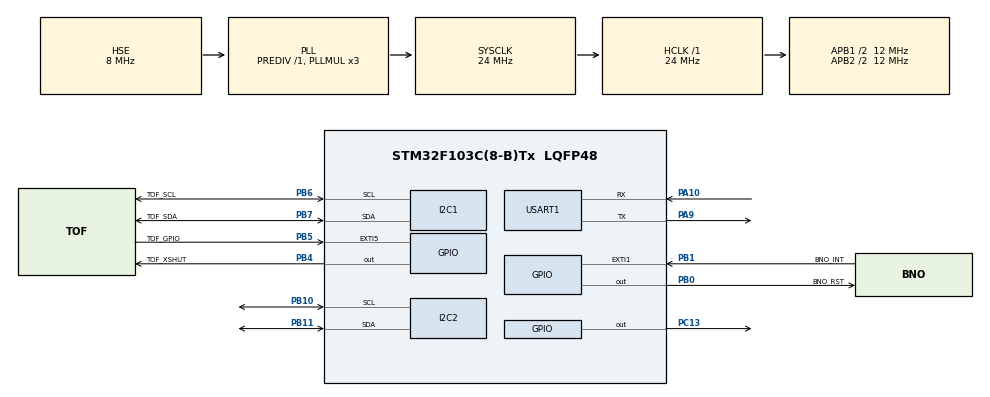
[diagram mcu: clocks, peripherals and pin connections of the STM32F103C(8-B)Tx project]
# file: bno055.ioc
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Dma.Request0=USART1_RX
Dma.Request1=USART1_TX
Dma.USART1_RX.0.Direction=DMA_PERIPH_TO_MEMORY
Dma.USART1_RX.0.Instance=DMA1_Channel5
Dma.USART1_RX.0.MemDataAlignment=DMA_MDATAALIGN_BYTE
Dma.USART1_RX.0.MemInc=DMA_MINC_ENABLE
Dma.USART1_RX.0.Mode=DMA_NORMAL
Dma.USART1_RX.0.PeriphDataAlignment=DMA_PDATAALIGN_BYTE
Dma.USART1_RX.0.PeriphInc=DMA_PINC_DISABLE
Dma.USART1_RX.0.Priority=DMA_PRIORITY_MEDIUM
Dma.USART1_TX.1.Direction=DMA_MEMORY_TO_PERIPH
Dma.USART1_TX.1.Instance=DMA1_Channel4
Dma.USART1_TX.1.MemDataAlignment=DMA_MDATAALIGN_BYTE
Dma.USART1_TX.1.MemInc=DMA_MINC_ENABLE
Dma.USART1_TX.1.Mode=DMA_NORMAL
Dma.USART1_TX.1.PeriphDataAlignment=DMA_PDATAALIGN_BYTE
Dma.USART1_TX.1.PeriphInc=DMA_PINC_DISABLE
Dma.USART1_TX.1.Priority=DMA_PRIORITY_VERY_HIGH
I2C1.I2C_Mode=I2C_Fast
I2C2.I2C_Mode=I2C_Fast
IWDG.Prescaler=IWDG_PRESCALER_64
IWDG.Reload=2814
Mcu.Family=STM32F1
Mcu.Name=STM32F103C(8-B)Tx
Mcu.Package=LQFP48
NVIC.DMA1_Channel4_IRQn=true\:2\:0\:true\:false\:true\:false\:true\:true
NVIC.DMA1_Channel5_IRQn=true\:2\:0\:true\:false\:true\:false\:true\:true
NVIC.EXTI9_5_IRQn=true\:1\:0\:true\:false\:true\:true\:true\:true
NVIC.PriorityGroup=NVIC_PRIORITYGROUP_4
NVIC.TIM2_IRQn=true\:0\:0\:true\:false\:true\:true\:true\:true
NVIC.USART1_IRQn=true\:2\:0\:true\:false\:true\:true\:true\:true
PA10.Mode=Asynchronous
PA10.Signal=USART1_RX
PA13.Mode=Serial_Wire
PA13.Signal=SYS_JTMS-SWDIO
PA14.Mode=Serial_Wire
PA14.Signal=SYS_JTCK-SWCLK
PA9.Mode=Asynchronous
PA9.Signal=USART1_TX
PB0.GPIO_Label=BNO_RST
PB0.GPIO_Speed=GPIO_SPEED_FREQ_MEDIUM
PB0.Signal=GPIO_Output
PB1.GPIO_Label=BNO_INT
PB1.GPIO_ModeDefaultEXTI=GPIO_MODE_IT_RISING
PB1.GPIO_PuPd=GPIO_PULLDOWN
PB1.Signal=GPXTI1
PB10.Mode=I2C
PB10.Signal=I2C2_SCL
PB11.Mode=I2C
PB11.Signal=I2C2_SDA
PB4.GPIO_Label=TOF_XSHUT
PB4.Signal=GPIO_Output
PB5.GPIO_Label=TOF_GPIO
PB5.GPIO_ModeDefaultEXTI=GPIO_MODE_IT_FALLING
PB5.GPIO_PuPd=GPIO_PULLUP
PB5.Signal=GPXTI5
PB6.GPIO_Label=TOF_SCL
PB6.GPIO_Speed=GPIO_SPEED_FREQ_LOW
PB6.Mode=I2C
PB6.Signal=I2C1_SCL
PB7.GPIO_Label=TOF_SDA
PB7.GPIO_Speed=GPIO_SPEED_FREQ_LOW
PB7.Mode=I2C
PB7.Signal=I2C1_SDA
PC13-TAMPER-RTC.Signal=GPIO_Output
PD0-OSC_IN.Mode=HSE-External-Oscillator
PD0-OSC_IN.Signal=RCC_OSC_IN
PD1-OSC_OUT.Mode=HSE-External-Oscillator
PD1-OSC_OUT.Signal=RCC_OSC_OUT
ProjectManager.HeapSize=0x200
ProjectManager.StackSize=0x400
ProjectManager.TargetToolchain=MDK-ARM V5.32
RCC.AHBFreq_Value=24000000
RCC.APB1CLKDivider=RCC_HCLK_DIV2
RCC.APB1Freq_Value=12000000
RCC.APB1TimFreq_Value=24000000
RCC.APB2CLKDivider=RCC_HCLK_DIV2
RCC.APB2Freq_Value=12000000
RCC.APB2TimFreq_Value=24000000
RCC.HCLKFreq_Value=24000000
RCC.PLLMUL=RCC_PLL_MUL3
RCC.PLLSourceVirtual=RCC_PLLSOURCE_HSE
RCC.SYSCLKFreq_VALUE=24000000
RCC.SYSCLKSource=RCC_SYSCLKSOURCE_PLLCLK
RCC.USBFreq_Value=24000000
TIM2.Period=19
TIM2.Prescaler=23999
USART1.VirtualMode=VM_ASYNC
VP_IWDG_VS_IWDG.Mode=IWDG_Activate
VP_TIM2_VS_ClockSourceINT.Mode=Internal
board=custom

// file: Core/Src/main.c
/* USER CODE BEGIN Header */
/**
 ******************************************************************************
 * @file           : main.c
 * @brief          : Main program body
 ******************************************************************************
 * @attention
 *
 * Copyright (c) 2025 STMicroelectronics.
 * All rights reserved.
 *
 * This software is licensed under terms that can be found in the LICENSE file
 * in the root directory of this software component.
 * If no LICENSE file comes with this software, it is provided AS-IS.
 *
 ******************************************************************************
 */
/* USER CODE END Header */
#include "main.h"

/* USER CODE BEGIN Includes */
#include <stdio.h>
#include <stdbool.h>
#include <math.h>
#include <string.h>

// file for bno055
#include "bno055_driver.h"
#include "flash.h"

// file for vl53l1x sensor
#include "vl53l1_platform.h"
#include "VL53L1X_api.h"
#include "filters.h"

/* USER CODE END Includes */

/* USER CODE BEGIN PD */
#define ID_HEADING           (0xA1)
#define ID_DISTANCE          (0xB2)
#define ID_ALL               (0xC3)
#define UART_TX_POLLING      0x01
#define UART_TX_DMA          0x02
#define UART_TX_MODE         UART_TX_POLLING
#define UART_RX_IT           0x03
#define UART_RX_DMA          0x04
#define UART_RX_MODE         UART_RX_DMA
#define BNO055_IMU_MODE      0x05
#define BNO055_NDOF_MODE     0x06
#define BNO055_SELECTED_MODE BNO055_IMU_MODE
#define MAX_VL53L1X_RETRY    3
#define MAX_BNO055_RETRY     5

/* USER CODE END PD */

/* USER CODE BEGIN PM */
typedef enum
{
  BNO_FAIL_INIT          = 0x01,
  VL53_FAIL_INIT         = 0x02,
  BNO_FAIL_EVEN_RETRIES  = 0x03,
  VL53_FAIL_EVEN_RETRIES = 0x04
} enum_sensor_error;

/* USER CODE END PM */

I2C_HandleTypeDef hi2c1;
I2C_HandleTypeDef hi2c2;

IWDG_HandleTypeDef hiwdg;

TIM_HandleTypeDef htim2;

UART_HandleTypeDef huart1;
DMA_HandleTypeDef  hdma_usart1_rx;
DMA_HandleTypeDef  hdma_usart1_tx;

/* USER CODE BEGIN PV */
//================ variables for uart communication with rasp ======================//
uint8_t       received_data_from_rasp[1] = {0};
bool          need_soft_reset            = false;
volatile bool uart_ready                 = true;

//====================== variables for bno055 =====================================//
bno055_vector_t           v_euler = {0, 0, 0, 0};
bno055_calibration_data_t calib_data;
bool                      calibed           = false;
bool                      bno055_failed     = false;
bool                      heading_ready     = false;
float                     heading           = 0.0f;
float                     error_code        = 999.0f;
float                     yaw_offset        = 0.0f;
uint8_t                   bno055_fail_count = 0;

//====================== variables for vl53l1x ===================================//
uint8_t        status              = 0;  // common status
uint8_t        status1             = 0;  // common status
uint8_t        status2             = 0;  // common status
uint8_t        range_status        = 0;  // status for measurement
uint16_t       measured_distance   = 0;
bool           distance_ready      = false;
uint32_t       last_distance_time  = 0;
const uint16_t timeout_distance_ms = 3000;
uint8_t        vl53_fail_count     = 0;

/* USER CODE END PV */

void        SystemClock_Config(void);
static void MX_GPIO_Init(void);
static void MX_DMA_Init(void);
static void MX_I2C2_Init(void);
static void MX_USART1_UART_Init(void);
static void MX_I2C1_Init(void);
static void MX_TIM2_Init(void);
static void MX_IWDG_Init(void);
/* USER CODE BEGIN PFP */
/**
 * @brief This function process data into a package to transmit
 */
void send_data_with_id(uint8_t id, float value);

/**
 * @brief This function process data into a package to transmit
 */
void send_data_all(uint8_t id, float value1, float value2);

/**
 * @brief call this function to reset system
 */
void soft_reset(void);

/**
 * @brief call this function to reset bno055 sensor
 */
void bno055_reset_by_nrst(void);

/**
 * @brief call this funtion to inform to rasp that vl53 sensor does not reply
 */
void send_vl53_error(enum_sensor_error error_type);

/**
 * @brief call this funtion to inform to rasp that bn055 sensor does not reply
 */
void send_bno055_error(enum_sensor_error error_type);

/* USER CODE END PFP */

/* USER CODE BEGIN 0 */
FILE __stdout;
int  fputc(int ch, FILE *f)
{
  HAL_UART_Transmit(&huart1, (uint8_t *)&ch, 1, 2000);
  return ch;
}

/* USER CODE END 0 */

int main(void)
{

  /* MCU Configuration--------------------------------------------------------*/

  /* Reset of all peripherals, Initializes the Flash interface and the Systick. */
  HAL_Init();

  /* Configure the system clock */
  SystemClock_Config();

  /* Initialize all configured peripherals */
  MX_GPIO_Init();
  MX_DMA_Init();
  MX_I2C2_Init();
  MX_USART1_UART_Init();
  MX_I2C1_Init();
  MX_TIM2_Init();
  MX_IWDG_Init();
  /* USER CODE BEGIN 2 */
  // ============ signal led will flash to inform if system restart (timeout = 4.5s) ===============//
  HAL_GPIO_WritePin(GPIOC, GPIO_PIN_13, GPIO_PIN_RESET);
  HAL_GPIO_WritePin(GPIOB, BNO_RST_Pin, GPIO_PIN_SET);
  HAL_Delay(50);
  HAL_GPIO_WritePin(GPIOC, GPIO_PIN_13, GPIO_PIN_SET);

  // ====================== enable timer 2 interrupt to transmit data =============================//
  HAL_TIM_Base_Start_IT(&htim2);

  // ===================== enable uart 1 interrupt to trreceive command ===========================//
  HAL_UARTEx_ReceiveToIdle_DMA(&huart1, received_data_from_rasp, sizeof(received_data_from_rasp));
  __HAL_DMA_DISABLE_IT(&hdma_usart1_rx, DMA_IT_HT);  // disable Half-Transfer

  // ============================== initiate BNO055 sensor ========================================//
  bno055_assignI2C(&hi2c2);  // i2c channel 2
  bno055_setup();

// imu mode (gyro, accel, do not have magnet), delay to wait for self calib of bno055
#if BNO055_SELECTED_MODE == BNO055_IMU_MODE
  bno055_set_operation_mode(BNO055_OPERATION_MODE_IMU);
#elif BNO055_MODE == BNO055_NDOF_MODE
  // if sensor calibed, we can get the offset value that saved on flash of MCU
  if (calibed)
  {
    read_calibration_from_flash(&calib_data, sizeof(calib_data));
    bno055_set_calibration_data(calib_data);
  }
  bno055_set_operation_mode(BNO055_OPERATION_MODE_NDOF);
#else
#error "Invalid BNO055_MODE"
#endif
  HAL_Delay(1000);

  // read and check if value is valid, then saving it to offset later
  v_euler = bno055_get_vector_euler();
  if ((v_euler.x >= 0.0f) && (v_euler.x <= 361.0f))
    yaw_offset = v_euler.x;
  else
    send_bno055_error(BNO_FAIL_INIT);

  //============================== initiate VL53L1X sensor =====================================//
  vl53l1x_assignI2C(&hi2c1);  // i2c channel 1
  VL53L1__Init();
  status = VL53L1X_StartRanging(VL53L1__ADDR);
  if (status != 0)
  {
    send_vl53_error(VL53_FAIL_INIT);
  }

  /* USER CODE END 2 */

  /* Infinite loop */
  while (1)
  {

    /* USER CODE BEGIN 3 */
    // =============================== read data from bno055 =================================//
    if (!bno055_failed)
    {
      v_euler = bno055_get_vector_euler();
      if ((v_euler.x < 0.0f) || (v_euler.x > 361.0f))
      {
        bno055_fail_count++;

        // try to reconnect, only use imu mode after reconnecting
        bno055_reset_by_nrst();
        __HAL_RCC_I2C2_FORCE_RESET();
        __HAL_RCC_I2C2_RELEASE_RESET();
        bno055_assignI2C(&hi2c2);  // i2c channel 2
        bno055_setup();
        bno055_set_operation_mode(BNO055_OPERATION_MODE_IMU);
        HAL_Delay(300);

        // read yaw value after reconnect
        v_euler = bno055_get_vector_euler();
        if ((v_euler.x >= 0.0f) && (v_euler.x <= 361.0f))
        {
          bno055_fail_count = 0;  // if reconncet succeeded, reset fail counts
          heading           = (v_euler.x > 360.0f) ? 360.0f : v_euler.x;
        }
        else if (bno055_fail_count >= MAX_BNO055_RETRY)
        {
          bno055_failed = true;
          send_bno055_error(BNO_FAIL_EVEN_RETRIES);
          heading = error_code;
        }
        else
        {
          heading = error_code;
        }
      }
      else
      {
        bno055_fail_count = 0;
        heading           = (v_euler.x > 360.0f) ? 360.0f : v_euler.x;
      }
    }

    // ================================== transmit data =====================================//
    if ((heading_ready) && (!bno055_failed))
    {
      send_data_with_id(ID_HEADING, heading);
      heading_ready = false;
    }
    if (distance_ready)
    {
      send_data_with_id(ID_DISTANCE, measured_distance);
      distance_ready = false;
    }

    // ====================== check if vl53l1x failed or disconnected =======================//
    if ((HAL_GetTick() - last_distance_time > timeout_distance_ms) && (vl53_fail_count < MAX_VL53L1X_RETRY))
    {
      uint8_t refRegs[4] = {0, 0, 0, 0};
      // check if VL53L1X is alive and kicking. Remove MASKREV if VL53L1
      VL53L1_ReadMulti(VL53L1__ADDR, VL53L1__MODELID_INDEX, refRegs, 4);
      if ((refRegs[0] != VL53L1__MODELID_VALUE) || (refRegs[1] != VL53L1__MODULETYPE_VALUE) ||
          (refRegs[2] != VL53L1__MASKREV_VALUE))
      {
        vl53_fail_count++;
        VL53L1__Xshut(0);
        HAL_Delay(10);
        VL53L1__Xshut(1);
        HAL_Delay(10);
        VL53L1__Init();
        status = VL53L1X_StartRanging(VL53L1__ADDR);
      }
      else
      {
        vl53_fail_count = 0;
      }
      if (vl53_fail_count >= MAX_VL53L1X_RETRY)
        send_vl53_error(VL53_FAIL_EVEN_RETRIES);

      last_distance_time = HAL_GetTick();
    }

    // ============================= reset system situations ===============================//
    if (need_soft_reset)
      NVIC_SystemReset();      // if raspberry request srm reset itself
    HAL_IWDG_Refresh(&hiwdg);  // reset system if IWDG out of time (timeout = 4.5s)
  }
  /* USER CODE END 3 */
}

void SystemClock_Config(void)
{
  RCC_OscInitTypeDef RCC_OscInitStruct = {0};
  RCC_ClkInitTypeDef RCC_ClkInitStruct = {0};

  /** Initializes the RCC Oscillators according to the specified parameters
   * in the RCC_OscInitTypeDef structure.
   */
  RCC_OscInitStruct.OscillatorType = RCC_OSCILLATORTYPE_LSI | RCC_OSCILLATORTYPE_HSE;
  RCC_OscInitStruct.HSEState       = RCC_HSE_ON;
  RCC_OscInitStruct.HSEPredivValue = RCC_HSE_PREDIV_DIV1;
  RCC_OscInitStruct.HSIState       = RCC_HSI_ON;
  RCC_OscInitStruct.LSIState       = RCC_LSI_ON;
  RCC_OscInitStruct.PLL.PLLState   = RCC_PLL_ON;
  RCC_OscInitStruct.PLL.PLLSource  = RCC_PLLSOURCE_HSE;
  RCC_OscInitStruct.PLL.PLLMUL     = RCC_PLL_MUL3;
  if (HAL_RCC_OscConfig(&RCC_OscInitStruct) != HAL_OK)
  {
    Error_Handler();
  }

  /** Initializes the CPU, AHB and APB buses clocks
   */
  RCC_ClkInitStruct.ClockType =
    RCC_CLOCKTYPE_HCLK | RCC_CLOCKTYPE_SYSCLK | RCC_CLOCKTYPE_PCLK1 | RCC_CLOCKTYPE_PCLK2;
  RCC_ClkInitStruct.SYSCLKSource   = RCC_SYSCLKSOURCE_PLLCLK;
  RCC_ClkInitStruct.AHBCLKDivider  = RCC_SYSCLK_DIV1;
  RCC_ClkInitStruct.APB1CLKDivider = RCC_HCLK_DIV2;
  RCC_ClkInitStruct.APB2CLKDivider = RCC_HCLK_DIV2;

  if (HAL_RCC_ClockConfig(&RCC_ClkInitStruct, FLASH_LATENCY_0) != HAL_OK)
  {
    Error_Handler();
  }
}

static void MX_I2C1_Init(void)
{

  hi2c1.Instance             = I2C1;
  hi2c1.Init.ClockSpeed      = 400000;
  hi2c1.Init.DutyCycle       = I2C_DUTYCYCLE_2;
  hi2c1.Init.OwnAddress1     = 0;
  hi2c1.Init.AddressingMode  = I2C_ADDRESSINGMODE_7BIT;
  hi2c1.Init.DualAddressMode = I2C_DUALADDRESS_DISABLE;
  hi2c1.Init.OwnAddress2     = 0;
  hi2c1.Init.GeneralCallMode = I2C_GENERALCALL_DISABLE;
  hi2c1.Init.NoStretchMode   = I2C_NOSTRETCH_DISABLE;
  if (HAL_I2C_Init(&hi2c1) != HAL_OK)
  {
    Error_Handler();
  }
}

static void MX_I2C2_Init(void)
{

  hi2c2.Instance             = I2C2;
  hi2c2.Init.ClockSpeed      = 400000;
  hi2c2.Init.DutyCycle       = I2C_DUTYCYCLE_2;
  hi2c2.Init.OwnAddress1     = 0;
  hi2c2.Init.AddressingMode  = I2C_ADDRESSINGMODE_7BIT;
  hi2c2.Init.DualAddressMode = I2C_DUALADDRESS_DISABLE;
  hi2c2.Init.OwnAddress2     = 0;
  hi2c2.Init.GeneralCallMode = I2C_GENERALCALL_DISABLE;
  hi2c2.Init.NoStretchMode   = I2C_NOSTRETCH_DISABLE;
  if (HAL_I2C_Init(&hi2c2) != HAL_OK)
  {
    Error_Handler();
  }
}

static void MX_IWDG_Init(void)
{

  hiwdg.Instance       = IWDG;
  hiwdg.Init.Prescaler = IWDG_PRESCALER_64;
  hiwdg.Init.Reload    = 2814;
  if (HAL_IWDG_Init(&hiwdg) != HAL_OK)
  {
    Error_Handler();
  }
}

static void MX_TIM2_Init(void)
{

  TIM_ClockConfigTypeDef  sClockSourceConfig = {0};
  TIM_MasterConfigTypeDef sMasterConfig      = {0};

  htim2.Instance               = TIM2;
  htim2.Init.Prescaler         = 23999;
  htim2.Init.CounterMode       = TIM_COUNTERMODE_UP;
  htim2.Init.Period            = 19;
  htim2.Init.ClockDivision     = TIM_CLOCKDIVISION_DIV1;
  htim2.Init.AutoReloadPreload = TIM_AUTORELOAD_PRELOAD_DISABLE;
  if (HAL_TIM_Base_Init(&htim2) != HAL_OK)
  {
    Error_Handler();
  }
  sClockSourceConfig.ClockSource = TIM_CLOCKSOURCE_INTERNAL;
  if (HAL_TIM_ConfigClockSource(&htim2, &sClockSourceConfig) != HAL_OK)
  {
    Error_Handler();
  }
  sMasterConfig.MasterOutputTrigger = TIM_TRGO_RESET;
  sMasterConfig.MasterSlaveMode     = TIM_MASTERSLAVEMODE_DISABLE;
  if (HAL_TIMEx_MasterConfigSynchronization(&htim2, &sMasterConfig) != HAL_OK)
  {
    Error_Handler();
  }
}

static void MX_USART1_UART_Init(void)
{

  huart1.Instance          = USART1;
  huart1.Init.BaudRate     = 115200;
  huart1.Init.WordLength   = UART_WORDLENGTH_8B;
  huart1.Init.StopBits     = UART_STOPBITS_1;
  huart1.Init.Parity       = UART_PARITY_NONE;
  huart1.Init.Mode         = UART_MODE_TX_RX;
  huart1.Init.HwFlowCtl    = UART_HWCONTROL_NONE;
  huart1.Init.OverSampling = UART_OVERSAMPLING_16;
  if (HAL_UART_Init(&huart1) != HAL_OK)
  {
    Error_Handler();
  }
}

static void MX_DMA_Init(void)
{

  /* DMA controller clock enable */
  __HAL_RCC_DMA1_CLK_ENABLE();

  /* DMA interrupt init */
  /* DMA1_Channel4_IRQn interrupt configuration */
  HAL_NVIC_SetPriority(DMA1_Channel4_IRQn, 2, 0);
  HAL_NVIC_EnableIRQ(DMA1_Channel4_IRQn);
  /* DMA1_Channel5_IRQn interrupt configuration */
  HAL_NVIC_SetPriority(DMA1_Channel5_IRQn, 2, 0);
  HAL_NVIC_EnableIRQ(DMA1_Channel5_IRQn);
}

static void MX_GPIO_Init(void)
{
  GPIO_InitTypeDef GPIO_InitStruct = {0};

  /* GPIO Ports Clock Enable */
  __HAL_RCC_GPIOC_CLK_ENABLE();
  __HAL_RCC_GPIOD_CLK_ENABLE();
  __HAL_RCC_GPIOA_CLK_ENABLE();
  __HAL_RCC_GPIOB_CLK_ENABLE();

  /*Configure GPIO pin Output Level */
  HAL_GPIO_WritePin(GPIOC, GPIO_PIN_13, GPIO_PIN_RESET);

  /*Configure GPIO pin Output Level */
  HAL_GPIO_WritePin(GPIOB, BNO_RST_Pin | TOF_XSHUT_Pin, GPIO_PIN_RESET);

  /*Configure GPIO pin : PC13 */
  GPIO_InitStruct.Pin   = GPIO_PIN_13;
  GPIO_InitStruct.Mode  = GPIO_MODE_OUTPUT_PP;
  GPIO_InitStruct.Pull  = GPIO_NOPULL;
  GPIO_InitStruct.Speed = GPIO_SPEED_FREQ_LOW;
  HAL_GPIO_Init(GPIOC, &GPIO_InitStruct);

  /*Configure GPIO pins : PC14 PC15 */
  GPIO_InitStruct.Pin  = GPIO_PIN_14 | GPIO_PIN_15;
  GPIO_InitStruct.Mode = GPIO_MODE_ANALOG;
  HAL_GPIO_Init(GPIOC, &GPIO_InitStruct);

  /*Configure GPIO pins : PA0 PA1 PA2 PA3
                           PA4 PA5 PA6 PA7
                           PA8 PA11 PA12 PA15 */
  GPIO_InitStruct.Pin = GPIO_PIN_0 | GPIO_PIN_1 | GPIO_PIN_2 | GPIO_PIN_3 | GPIO_PIN_4 | GPIO_PIN_5 |
                        GPIO_PIN_6 | GPIO_PIN_7 | GPIO_PIN_8 | GPIO_PIN_11 | GPIO_PIN_12 | GPIO_PIN_15;
  GPIO_InitStruct.Mode = GPIO_MODE_ANALOG;
  HAL_GPIO_Init(GPIOA, &GPIO_InitStruct);

  /*Configure GPIO pin : BNO_RST_Pin */
  GPIO_InitStruct.Pin   = BNO_RST_Pin;
  GPIO_InitStruct.Mode  = GPIO_MODE_OUTPUT_PP;
  GPIO_InitStruct.Pull  = GPIO_NOPULL;
  GPIO_InitStruct.Speed = GPIO_SPEED_FREQ_MEDIUM;
  HAL_GPIO_Init(BNO_RST_GPIO_Port, &GPIO_InitStruct);

  /*Configure GPIO pin : BNO_INT_Pin */
  GPIO_InitStruct.Pin  = BNO_INT_Pin;
  GPIO_InitStruct.Mode = GPIO_MODE_IT_RISING;
  GPIO_InitStruct.Pull = GPIO_PULLDOWN;
  HAL_GPIO_Init(BNO_INT_GPIO_Port, &GPIO_InitStruct);

  /*Configure GPIO pins : PB2 PB12 PB13 PB14
                           PB15 PB3 PB8 PB9 */
  GPIO_InitStruct.Pin =
    GPIO_PIN_2 | GPIO_PIN_12 | GPIO_PIN_13 | GPIO_PIN_14 | GPIO_PIN_15 | GPIO_PIN_3 | GPIO_PIN_8 | GPIO_PIN_9;
  GPIO_InitStruct.Mode = GPIO_MODE_ANALOG;
  HAL_GPIO_Init(GPIOB, &GPIO_InitStruct);

  /*Configure GPIO pin : TOF_XSHUT_Pin */
  GPIO_InitStruct.Pin   = TOF_XSHUT_Pin;
  GPIO_InitStruct.Mode  = GPIO_MODE_OUTPUT_PP;
  GPIO_InitStruct.Pull  = GPIO_NOPULL;
  GPIO_InitStruct.Speed = GPIO_SPEED_FREQ_LOW;
  HAL_GPIO_Init(TOF_XSHUT_GPIO_Port, &GPIO_InitStruct);

  /*Configure GPIO pin : TOF_GPIO_Pin */
  GPIO_InitStruct.Pin  = TOF_GPIO_Pin;
  GPIO_InitStruct.Mode = GPIO_MODE_IT_FALLING;
  GPIO_InitStruct.Pull = GPIO_PULLUP;
  HAL_GPIO_Init(TOF_GPIO_GPIO_Port, &GPIO_InitStruct);

  /* EXTI interrupt init*/
  HAL_NVIC_SetPriority(EXTI9_5_IRQn, 1, 0);
  HAL_NVIC_EnableIRQ(EXTI9_5_IRQn);

}

/* USER CODE BEGIN 4 */
/**
 * @brief This function handles EXTI line[9:5] interrupts.
 */
void EXTI9_5_IRQHandler(void)
{
  status |= VL53L1X_GetRangeStatus(VL53L1__ADDR, &range_status);
  if (range_status > 0)  // VL53L1__RANGE_STATUS_THRESH: 7
  {
    status1 |= VL53L1X_ClearInterrupt(
      VL53L1__ADDR);  // non acceptable range status, reset for a new ranging notification
  }
  else
  {
    status2 |= VL53L1X_GetDistance(VL53L1__ADDR, &measured_distance);
    status1 |= VL53L1X_ClearInterrupt(VL53L1__ADDR);  // Everything read. Restart interrupt
    distance_ready     = true;
    vl53_fail_count    = 0;
    last_distance_time = HAL_GetTick();
  }
  HAL_GPIO_EXTI_IRQHandler(TOF_GPIO_Pin);
}

/**
 * @brief This function handles timer interrupt. Using this function to create sample time, and do other tasks
 */
void HAL_TIM_PeriodElapsedCallback(TIM_HandleTypeDef *htim)
{
  if (htim->Instance == TIM2)  // interrupt occurs every 20ms
  {
    heading_ready = true;
  }
}

/**
 * @brief This function handles USART DMA interrupt. Using this function to receive and transmite data
 */
void HAL_UARTEx_RxEventCallback(UART_HandleTypeDef *huart, uint16_t Size)
{
  if (received_data_from_rasp[0] == 0xFF)
  {
    HAL_GPIO_WritePin(GPIOB, BNO_RST_Pin, GPIO_PIN_RESET);
    need_soft_reset = true;
  }

  HAL_UARTEx_ReceiveToIdle_DMA(&huart1, received_data_from_rasp, sizeof(received_data_from_rasp));
  __HAL_DMA_DISABLE_IT(&hdma_usart1_rx, DMA_IT_HT);
}

void HAL_UART_ErrorCallback(UART_HandleTypeDef *huart)
{
  if (huart->Instance == USART1)
  {
    __HAL_UART_CLEAR_OREFLAG(huart);
    __HAL_UART_CLEAR_FEFLAG(huart);
    __HAL_UART_CLEAR_NEFLAG(huart);
    HAL_UARTEx_ReceiveToIdle_DMA(&huart1, received_data_from_rasp, sizeof(received_data_from_rasp));
    __HAL_DMA_DISABLE_IT(&hdma_usart1_rx, DMA_IT_HT);
  }
}

/**
 * @brief This function handles USART transmit DMA complete
 */
void HAL_UART_TxCpltCallback(UART_HandleTypeDef *huart)
{
  if (huart->Instance == USART1)
  {
    uart_ready = true;
  }
}

void send_data_with_id(uint8_t id, float value)
{
  uint8_t packet[7];

  memset(packet, 0, sizeof(packet));
  packet[0] = 0xBB;  // header of STM32 (BNO & VL53)
  packet[1] = id;
  memcpy(&packet[2], &value, sizeof(float));

  uint8_t sum = 0;
  for (int i = 0; i < 6; i++)
    sum += packet[i];
  packet[6] = ~sum;

#if UART_TX_MODE == UART_TX_DMA
  if (uart_ready)
  {
    HAL_UART_Transmit_DMA(&huart1, packet, sizeof(packet));
    uart_ready = false;
  }
#elif UART_TX_MODE == UART_TX_POLLING
  HAL_UART_Transmit(&huart1, packet, sizeof(packet), 100);
#else
#error "Invalid UART_TX_MODE"
#endif
}

void send_data_all(uint8_t id, float value1, float value2)
{
  uint8_t packet[11];

  memset(packet, 0, sizeof(packet));
  packet[0] = 0xBB;  // header of STM32 (BNO & VL53)
  packet[1] = id;
  memcpy(&packet[2], &value1, sizeof(float));
  memcpy(&packet[6], &value2, sizeof(float));

  uint8_t sum = 0;
  for (int i = 0; i < 10; i++)
    sum += packet[i];
  packet[10] = ~sum;

#if UART_TX_MODE == UART_TX_DMA
  if (uart_ready)
  {
    HAL_UART_Transmit_DMA(&huart1, packet, sizeof(packet));
    uart_ready = false;
  }
#elif UART_TX_MODE == UART_TX_POLLING
  HAL_UART_Transmit(&huart1, packet, sizeof(packet), 200);
#else
#error "Invalid UART_TX_MODE"
#endif
}

void soft_reset(void)
{
  NVIC_SystemReset();
}

void bno055_reset_by_nrst(void)
{
  HAL_GPIO_WritePin(GPIOB, BNO_RST_Pin, GPIO_PIN_RESET);
  HAL_Delay(10);
  HAL_GPIO_WritePin(GPIOB, BNO_RST_Pin, GPIO_PIN_SET);
  HAL_Delay(50);
}

void send_vl53_error(enum_sensor_error error_type)
{
  uint8_t buffer[2] = {0xBB, error_type};  // inform to rasp: vl53l1x error or failed
#if UART_TX_MODE == UART_TX_DMA
  if (uart_ready)
  {
    HAL_UART_Transmit_DMA(&huart1, buffer, sizeof(buffer));
    uart_ready = false;
  }
#elif UART_TX_MODE == UART_TX_POLLING
  HAL_UART_Transmit(&huart1, buffer, sizeof(buffer), 200);
#else
#error "Invalid UART_TX_MODE"
#endif
}

void send_bno055_error(enum_sensor_error error_type)
{
  uint8_t buffer[2] = {0xBB, error_type};  // inform to rasp: bno055 error or failed
#if UART_TX_MODE == UART_TX_DMA
  if (uart_ready)
  {
    HAL_UART_Transmit_DMA(&huart1, buffer, sizeof(buffer));
    uart_ready = false;
  }
#elif UART_TX_MODE == UART_TX_POLLING
  HAL_UART_Transmit(&huart1, buffer, sizeof(buffer), 200);
#else
#error "Invalid UART_TX_MODE"
#endif
}

/* USER CODE END 4 */

void Error_Handler(void)
{
  __disable_irq();
  while (1)
  {
  }
}
